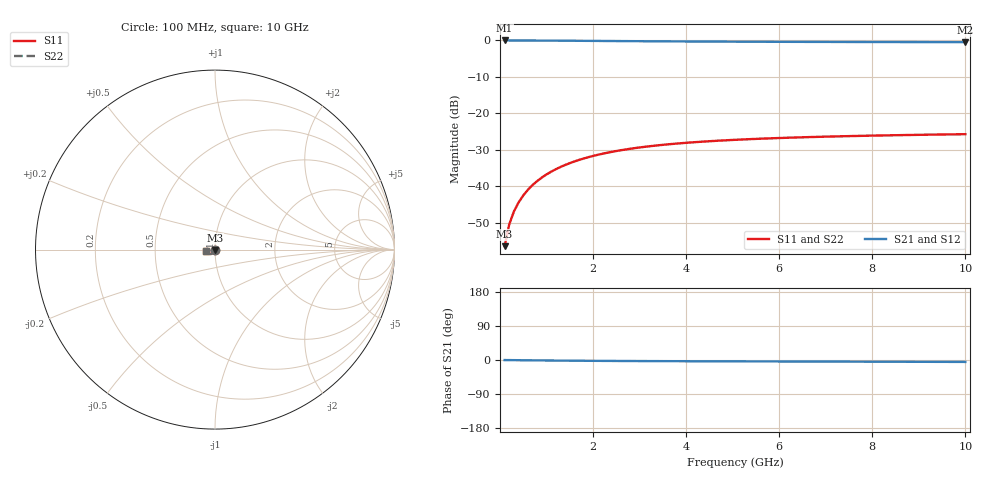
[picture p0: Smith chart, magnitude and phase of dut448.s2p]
! Touchstone file exported from HFSS 2024.1.0
!  File:  C:/UserFiles/LocalFiles/RDL_TSV_Batchsim/temp_TSV1_448_1779695955.aedt
!  Generated:  04:05:05 PM May 25, 2026
!  Design:  TSV1
!  Project:  temp_TSV1_448_1779695955
!  Setup:  Setup1
!  Solution:  Sweep
! Variables:
!  dtsv = 12.73um
!  hbump = 3um
!  htsv = 77.72um
!  lrdl = 252.1521522um
!  p = 40
!  p1 = 52.73um
!  t = 500um
!  trdl = 3um
!  wrdl = 24.89489489um
# GHz S MA R 50.000000
! Terminal data exported
! Port[1] = TSV22_T1
! Port[2] = TSV22_T2
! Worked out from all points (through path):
!   100 points, 100 MHz to 10 GHz, reference 50 ohm
!   highest |S21| = 0.00 dB at 100 MHz (marker M1); lowest = -0.5 dB at 10 GHz (marker M2)
!   lowest |S11| = -56.5 dB at 100 MHz (marker M3), VSWR 1.00, Z = 50 - j0.15 ohm
!   |S11| at or under -10 dB: start of sweep to end of sweep
!   |S22| runs from -56.5 to -25.7 dB; largest |S21 - S12| = 9.5e-15
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0.1  0.001498 -88.4  0.9999 -0.1  0.9999 -0.1  0.001498 -88.4
! Gamma 0 0 0 0
! Port Impedance 50 0 50 0
0.2  0.002992 -91.7  0.9997 -0.3  0.9997 -0.3  0.002992 -91.7
0.3  0.004485 -94.0  0.9994 -0.4  0.9994 -0.4  0.004485 -94.0
0.4  0.00597 -96.1  0.9991 -0.5  0.9991 -0.5  0.00597 -96.1
0.5  0.007443 -98.0  0.9987 -0.7  0.9987 -0.7  0.007443 -98.0
0.6  0.008897 -99.9  0.9982 -0.8  0.9982 -0.8  0.008897 -99.9
0.7  0.01033 -101.8  0.9976 -0.9  0.9976 -0.9  0.01033 -101.8
0.8  0.01174 -103.6  0.9969 -1.0  0.9969 -1.0  0.01174 -103.6
0.9  0.01311 -105.3  0.9962 -1.1  0.9962 -1.1  0.01311 -105.3
1.1  0.01578 -108.8  0.9947 -1.4  0.9947 -1.4  0.01578 -108.8
1.4  0.01951 -113.6  0.992 -1.7  0.992 -1.7  0.01951 -113.6
1.6  0.02181 -116.7  0.99 -1.9  0.99 -1.9  0.02181 -116.7
1.8  0.02396 -119.6  0.988 -2.0  0.988 -2.0  0.02396 -119.6
2.1  0.0269 -123.8  0.985 -2.3  0.985 -2.3  0.0269 -123.8
2.5  0.03034 -128.8  0.981 -2.5  0.981 -2.5  0.03034 -128.8
2.9  0.03327 -133.3  0.9772 -2.8  0.9772 -2.8  0.03327 -133.3
3.4  0.03634 -138.2  0.9729 -3.0  0.9729 -3.0  0.03634 -138.2
4.2  0.04018 -145.0  0.9671 -3.3  0.9671 -3.3  0.04018 -145.0
5.1  0.04336 -151.3  0.962 -3.6  0.962 -3.6  0.04336 -151.3
6.7  0.04721 -160.1  0.9554 -4.1  0.9554 -4.1  0.04721 -160.0
8.4  0.04987 -167.3  0.9508 -4.6  0.9508 -4.6  0.04987 -167.3
10  0.05165 -172.8  0.9478 -5.1  0.9478 -5.1  0.05165 -172.8
